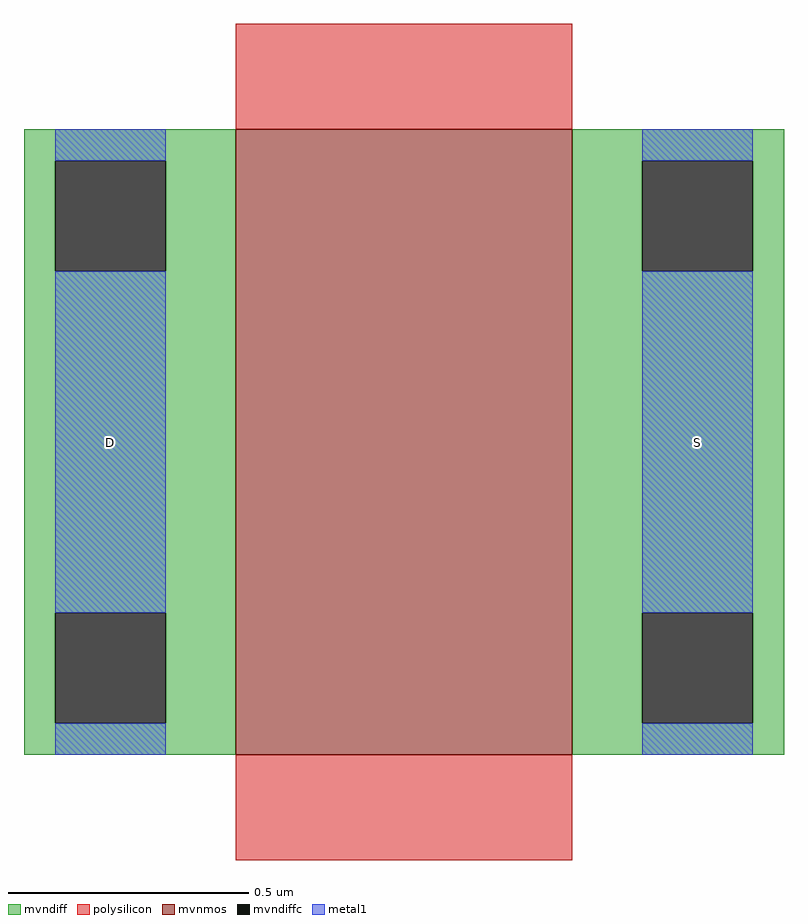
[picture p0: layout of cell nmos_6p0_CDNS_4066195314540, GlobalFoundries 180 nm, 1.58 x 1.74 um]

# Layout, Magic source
magic
tech gf180mcuD
magscale 1 10
<< mvnmos >>
rect 0 0 140 260
<< mvndiff >>
rect -88 247 0 260
rect -88 201 -75 247
rect -29 201 0 247
rect -88 59 0 201
rect -88 13 -75 59
rect -29 13 0 59
rect -88 0 0 13
rect 140 247 228 260
rect 140 201 169 247
rect 215 201 228 247
rect 140 59 228 201
rect 140 13 169 59
rect 215 13 228 59
rect 140 0 228 13
<< mvndiffc >>
rect -75 201 -29 247
rect -75 13 -29 59
rect 169 201 215 247
rect 169 13 215 59
<< polysilicon >>
rect 0 260 140 304
rect 0 -44 140 0
<< metal1 >>
rect -75 247 -29 260
rect -75 59 -29 201
rect -75 0 -29 13
rect 169 247 215 260
rect 169 59 215 201
rect 169 0 215 13
<< labels >>
rlabel metal1 192 130 192 130 4 S
rlabel metal1 -52 130 -52 130 4 D
<< end >>
